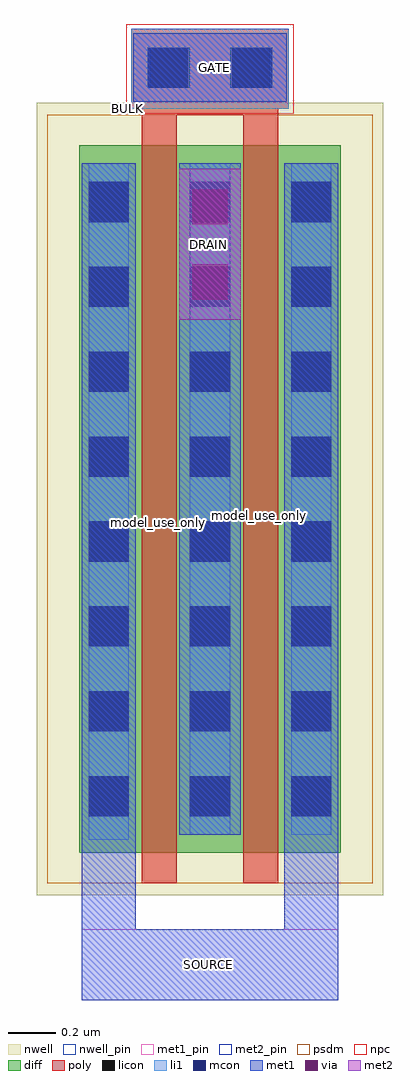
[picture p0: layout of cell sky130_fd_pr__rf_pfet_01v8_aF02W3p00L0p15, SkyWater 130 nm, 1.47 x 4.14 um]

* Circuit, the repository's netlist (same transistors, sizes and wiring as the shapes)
* Copyright 2020 The SkyWater PDK Authors
*
* Licensed under the Apache License, Version 2.0 (the "License");
* you may not use this file except in compliance with the License.
* You may obtain a copy of the License at
*
*     https://www.apache.org/licenses/LICENSE-2.0
*
* Unless required by applicable law or agreed to in writing, software
* distributed under the License is distributed on an "AS IS" BASIS,
* WITHOUT WARRANTIES OR CONDITIONS OF ANY KIND, either express or implied.
* See the License for the specific language governing permissions and
* limitations under the License.
*
* SPDX-License-Identifier: Apache-2.0


.subckt sky130_fd_pr__rf_pfet_01v8_aF02W3p00L0p15 BULK DRAIN GATE SOURCE
X0 SOURCE GATE DRAIN BULK sky130_fd_pr__pfet_01v8 w=3e+06u l=150000u
X1 DRAIN GATE SOURCE BULK sky130_fd_pr__pfet_01v8 w=3e+06u l=150000u
.ends

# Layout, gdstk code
import gdstk
lib = gdstk.Library(unit=1e-6, precision=1e-09)
def R(c, l, rs):  # rectangles x0, y0, x1, y1
    for r in rs: c.add(gdstk.rectangle(r[:2], r[2:], *l))
def A(c, l, x, y, w, h, nx, ny, dx, dy):  # array of equal rectangles
    R(c, l, [(x+i*dx, y+j*dy, x+i*dx+w, y+j*dy+h) for i in range(nx) for j in range(ny)])
nwell_pin = (64, 16)
nwell = (64, 20)
diff = (65, 20)
poly = (66, 20)
licon = (66, 44)
li1 = (67, 20)
mcon = (67, 44)
met1_pin = (68, 16)
met1 = (68, 20)
via = (68, 44)
met2_pin = (69, 16)
met2 = (69, 20)
psdm = (94, 20)
npc = (95, 20)

sky130_fd_pr__rf_pfet_01 = lib.new_cell('sky130_fd_pr__rf_pfet_01v8_aF02W3p00L0p15')
R(sky130_fd_pr__rf_pfet_01, nwell_pin, [(0.375,3.315,0.395,3.35)])
R(sky130_fd_pr__rf_pfet_01, nwell, [(0,0,1.47,3.36)])
R(sky130_fd_pr__rf_pfet_01, diff, [(0.18,0.18,0.445,3.18), (0.21,0.18,0.445,3.18), (0.445,0.18,0.595,3.18), (0.595,0.18,0.875,3.18), (0.875,0.18,1.025,3.18), (1.025,0.18,1.29,3.18), (1.025,0.18,1.29,3.18)])
R(sky130_fd_pr__rf_pfet_01, poly, [(0.445,0.05,0.595,0.18), (0.445,0.05,0.595,3.31), (0.875,0.05,1.025,0.18), (0.875,0.05,1.025,3.31), (0.445,3.18,0.595,3.31), (0.875,3.18,1.025,3.31), (0.445,3.31,1.025,3.675), (0.4,3.335,1.07,3.675)])
A(sky130_fd_pr__rf_pfet_01, licon, 0.22, 0.335, 0.17, 0.17, 3, 8, 0.43, 0.36)
R(sky130_fd_pr__rf_pfet_01, licon, [(0.48,3.425,0.65,3.595), (0.82,3.425,0.99,3.595)])
R(sky130_fd_pr__rf_pfet_01, li1, [(0.22,0.235,0.39,3.105), (0.65,0.255,0.82,3.105), (1.08,0.255,1.25,3.105), (0.4,3.335,1.07,3.675), (0.47,3.425,1,3.595)])
A(sky130_fd_pr__rf_pfet_01, mcon, 0.22, 0.335, 0.17, 0.17, 3, 8, 0.43, 0.36)
R(sky130_fd_pr__rf_pfet_01, mcon, [(0.47,3.425,0.64,3.595), (0.83,3.425,1,3.595)])
R(sky130_fd_pr__rf_pfet_01, met1_pin, [(0.19,-0.445,1.28,-0.145), (0.41,3.365,1.06,3.655)])
R(sky130_fd_pr__rf_pfet_01, met1, [(0.41,3.365,1.06,3.655)])
R(sky130_fd_pr__rf_pfet_01, via, [(0.66,2.525,0.81,2.675), (0.66,2.845,0.81,2.995)])
R(sky130_fd_pr__rf_pfet_01, met2_pin, [(0.605,2.44,0.865,3.08)])
R(sky130_fd_pr__rf_pfet_01, met2, [(0.605,2.44,0.865,3.08)])
R(sky130_fd_pr__rf_pfet_01, psdm, [(0.045,0.05,0.575,3.31), (0.21,0.05,0.595,3.31), (0.465,0.05,1.005,3.31), (0.625,0.05,1.025,3.31), (0.895,0.05,1.425,3.31)])
R(sky130_fd_pr__rf_pfet_01, npc, [(0.38,3.315,1.09,3.695)])
sky130_fd_pr__rf_pfet_01.add(gdstk.FlexPath([(0.305,3.105),(0.305,-0.445)], 0.23, ends="flush", simple_path=True, layer=68, datatype=20))  # met1
sky130_fd_pr__rf_pfet_01.add(gdstk.FlexPath([(0.735,3.105),(0.735,0.255)], 0.26, ends="flush", simple_path=True, layer=68, datatype=20))  # met1
sky130_fd_pr__rf_pfet_01.add(gdstk.FlexPath([(1.165,3.105),(1.165,-0.445)], 0.23, ends="flush", simple_path=True, layer=68, datatype=20))  # met1
sky130_fd_pr__rf_pfet_01.add(gdstk.FlexPath([(0.19,-0.295),(1.28,-0.295)], 0.3, ends="flush", simple_path=True, layer=68, datatype=20))  # met1
sky130_fd_pr__rf_pfet_01.add(gdstk.Label('model_use_only', (0.515,1.58), layer=66, texttype=83))
sky130_fd_pr__rf_pfet_01.add(gdstk.Label('model_use_only', (0.945,1.61), layer=66, texttype=83))
sky130_fd_pr__rf_pfet_01.add(gdstk.Label('DRAIN', (0.73,2.76), layer=69, texttype=16))
sky130_fd_pr__rf_pfet_01.add(gdstk.Label('SOURCE', (0.73,-0.295), layer=68, texttype=16))
sky130_fd_pr__rf_pfet_01.add(gdstk.Label('GATE', (0.755,3.51), layer=68, texttype=16))
sky130_fd_pr__rf_pfet_01.add(gdstk.Label('BULK', (0.385,3.335), layer=64, texttype=5))

lib.write_gds('sky130_fd_pr__rf_pfet_01v8_aF02W3p00L0p15.gds')
